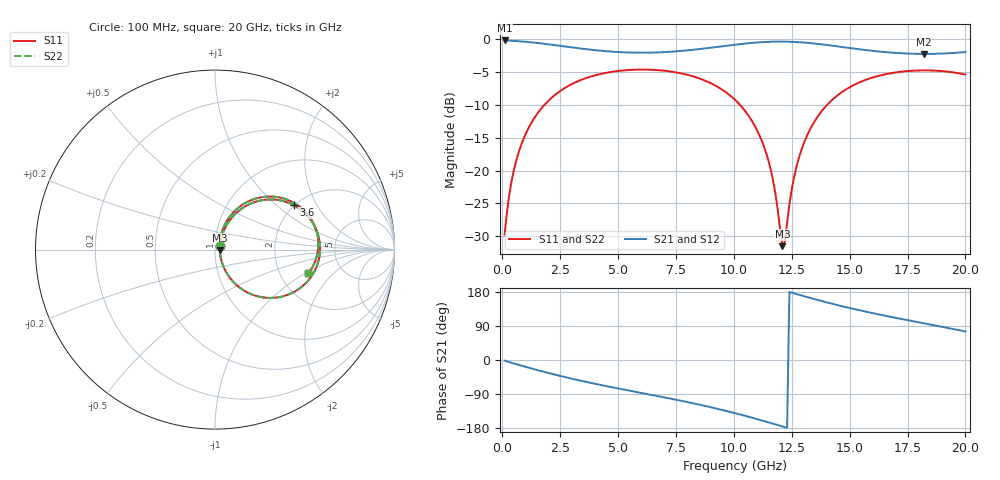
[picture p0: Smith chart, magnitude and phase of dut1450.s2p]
! Touchstone file exported from HFSS 2026.1.0
!  File:  C:/ffzhzh/LocalFiles/Ansys_Project_Files/temp_train_TSV_RDL_1450_1783358661_37376.aedt
!  Generated:  01:37:11 AM Jul  7, 2026
!  Design:  TSV_RDL
!  Project:  temp_train_TSV_RDL_1450_1783358661_37376
! Variables:
!  h_bsmrdl = 3.18um
!  h_ox = 20um
!  h_rdl = 5um
!  h_sub = 90.71um
!  h_tmrdl = 2.9um
!  h_tsv = 90.71um
!  h_via = 3um
!  l_bsmrdl = 666.49um
!  l_sub = 4771.28um
!  l_tmrdl = 561.94um
!  m_sub = 200um
!  pitch = 54.97um
!  r_tsv = 8.44um
!  s_tmrdl = 10um
!  w_bsmrdl = 22.36um
!  w_sub = 500um
!  w_tmrdl = 18.99um
!  x_tsv_center1 = 571.435um
!  x_tsv_center2 = 1260.285um
!  x_tsv_center3 = 1841.215um
!  x_tsv_center4 = 2530.065um
!  x_tsv_center5 = 3110.995um
!  x_tsv_center6 = 3799.845um
# GHz S MA R 50.000000
! Terminal data exported
! Port[1] = TM_RDL1_1_T1
! Port[2] = TM_RDL5_1_T1
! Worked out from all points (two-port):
!   200 points, 100 MHz to 20 GHz, reference 50 ohm
!   highest |S21| = -0.23 dB at 100 MHz (marker M1); lowest = -2.3 dB at 18.2 GHz (marker M2)
!   |S21| within 3 dB of the highest: start of sweep to end of sweep
!   lowest |S11| = -31.5 dB at 12.1 GHz (marker M3), VSWR 1.05, Z = 52.7 - j0.475 ohm
!   |S11| at or under -10 dB: start of sweep to 1.825 GHz; 10.26 GHz to 14.03 GHz (3.772 GHz wide, 31.1 % of centre)
!   |S22| runs from -31.5 to -4.7 dB; largest |S21 - S12| = 2.3e-14
!   S11 on the Smith chart (normalised r, x): 100 MHz: 1.05, +0.04; 3.6 GHz: 1.98, +1.31; 20 GHz: 2.87, -1.07
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0.1  0.0326 36.6  0.9743 -1.9  0.9743 -1.9  0.0326 36.6
! Gamma 0 0 0 0
! Port Impedance 50 0 50 0
0.5  0.101 64.5  0.9669 -9.1  0.9669 -9.1  0.101 64.5
1.1  0.2048 62.0  0.9491 -19.6  0.9491 -19.6  0.2048 62.0
2.1  0.3536 49.3  0.9059 -36.0  0.9059 -36.0  0.3536 49.3
3.5  0.4958 30.8  0.8411 -56.2  0.8411 -56.2  0.4959 30.8
3.6  0.5031 29.6  0.8371 -57.5  0.8371 -57.5  0.5032 29.6
5.2  0.5761 10.6  0.7926 -77.4  0.7926 -77.4  0.5761 10.6
6.8  0.578 -7.5  0.7917 -96.3  0.7917 -96.3  0.578 -7.5
8.7  0.487 -30.3  0.8454 -120.3  0.8454 -120.3  0.4871 -30.3
10.1  0.3383 -49.1  0.9069 -141.0  0.9069 -141.0  0.3384 -49.1
10.8  0.2353 -58.3  0.9341 -152.5  0.9341 -152.5  0.2354 -58.3
11.4  0.1351 -63.7  0.9497 -162.9  0.9497 -162.9  0.1351 -63.7
11.8  0.06609 -58.5  0.9547 -169.9  0.9547 -169.9  0.06614 -58.5
12.1  0.02664 -9.7  0.9552 -175.3  0.9552 -175.3  0.02665 -9.8
12.2  0.02877 26.9  0.9547 -177.1  0.9547 -177.1  0.02875 26.8
12.5  0.07185 65.0  0.9513 177.6  0.9513 177.6  0.0718 65.0
12.7  0.1061 68.6  0.9476 174.1  0.9476 174.1  0.106 68.6
13.4  0.2229 64.4  0.9264 162.1  0.9264 162.1  0.2229 64.4
14.7  0.3985 47.4  0.8679 141.5  0.8679 141.5  0.3985 47.4
16.7  0.5461 22.7  0.7902 114.8  0.7902 114.8  0.5461 22.7
18.2  0.5773 5.9  0.77 96.9  0.77 96.9  0.5773 5.9
20  0.5364 -14.3  0.7954 75.3  0.7954 75.3  0.5365 -14.3
